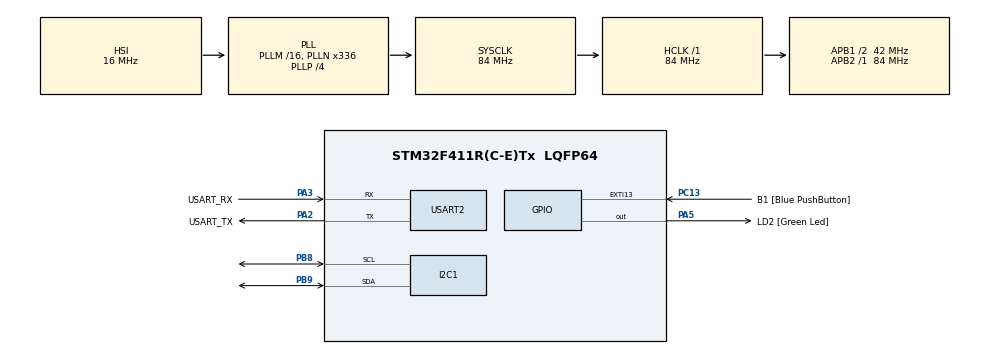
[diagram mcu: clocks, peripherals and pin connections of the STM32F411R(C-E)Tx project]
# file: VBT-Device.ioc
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Mcu.Family=STM32F4
Mcu.Name=STM32F411R(C-E)Tx
Mcu.Package=LQFP64
NVIC.PriorityGroup=NVIC_PRIORITYGROUP_0
PA13.GPIO_Label=TMS
PA13.Mode=Serial_Wire
PA13.Signal=SYS_JTMS-SWDIO
PA14.GPIO_Label=TCK
PA14.Mode=Serial_Wire
PA14.Signal=SYS_JTCK-SWCLK
PA2.GPIO_Label=USART_TX
PA2.Mode=Asynchronous
PA2.Signal=USART2_TX
PA3.GPIO_Label=USART_RX
PA3.Mode=Asynchronous
PA3.Signal=USART2_RX
PA5.GPIO_Label=LD2 [Green Led]
PA5.Signal=GPIO_Output
PB3.GPIO_Label=SWO
PB3.Signal=SYS_JTDO-SWO
PB8.Mode=I2C
PB8.Signal=I2C1_SCL
PB9.Mode=I2C
PB9.Signal=I2C1_SDA
PC13-ANTI_TAMP.GPIO_Label=B1 [Blue PushButton]
PC13-ANTI_TAMP.GPIO_ModeDefaultEXTI=GPIO_MODE_IT_FALLING
PC13-ANTI_TAMP.Signal=GPXTI13
PC14-OSC32_IN.Mode=LSE-External-Oscillator
PC14-OSC32_IN.Signal=RCC_OSC32_IN
PC15-OSC32_OUT.Mode=LSE-External-Oscillator
PC15-OSC32_OUT.Signal=RCC_OSC32_OUT
PH0\ -\ OSC_IN.Mode=HSE-External-Clock-Source
PH0\ -\ OSC_IN.Signal=RCC_OSC_IN
PH1\ -\ OSC_OUT.Mode=HSE-External-Clock-Source
PH1\ -\ OSC_OUT.Signal=RCC_OSC_OUT
ProjectManager.HeapSize=0x200
ProjectManager.StackSize=0x400
ProjectManager.TargetToolchain=STM32CubeIDE
RCC.48MHZClocksFreq_Value=84000000
RCC.AHBFreq_Value=84000000
RCC.APB1CLKDivider=RCC_HCLK_DIV2
RCC.APB1Freq_Value=42000000
RCC.APB1TimFreq_Value=84000000
RCC.APB2Freq_Value=84000000
RCC.APB2TimFreq_Value=84000000
RCC.CortexFreq_Value=84000000
RCC.FLatency-AdvancedSettings=FLASH_LATENCY_2
RCC.HCLKFreq_Value=84000000
RCC.HSE_VALUE=8000000
RCC.HSI_VALUE=16000000
RCC.PLLN=336
RCC.PLLP=RCC_PLLP_DIV4
RCC.SYSCLKFreq_VALUE=84000000
RCC.SYSCLKSource=RCC_SYSCLKSOURCE_PLLCLK
RCC.VCOOutputFreq_Value=336000000
TIM2.Period=0xFFFFFFFF
TIM2.Prescaler=83
USART2.VirtualMode=VM_ASYNC
VP_TIM2_VS_ClockSourceINT.Mode=Internal
board=NUCLEO-F411RE

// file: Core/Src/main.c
/* USER CODE BEGIN Header */
/**
  ******************************************************************************
  * @file           : main.c
  * @brief          : Main program body
  ******************************************************************************
  * @attention
  *
  * Copyright (c) 2026 STMicroelectronics.
  * All rights reserved.
  *
  * This software is licensed under terms that can be found in the LICENSE file
  * in the root directory of this software component.
  * If no LICENSE file comes with this software, it is provided AS-IS.
  *
  ******************************************************************************
  */
/* USER CODE END Header */
#include "main.h"
#include "i2c.h"
#include "tim.h"
#include "usart.h"
#include "gpio.h"

/* USER CODE BEGIN PV */
float Accel_X_OFF = 0, Accel_Y_OFF = 0, Accel_Z_OFF = 0; // will take avg of sensor reading while still to calibrate.
float velocity_x = 0;
float distance_x = 0;
float peak_velocity = 0;
uint32_t last_time = 0;

/* USER CODE END PV */

void SystemClock_Config(void);
/* USER CODE BEGIN PFP */
#include <stdio.h>

#ifdef __GNUC__
#define PUTCHAR_PROTOTYPE int __io_putchar(int ch)
#else
#define PUTCHAR_PROTOTYPE int fputc(int ch, FILE *f)
#endif
PUTCHAR_PROTOTYPE {
	while (__HAL_UART_GET_FLAG(&huart2, UART_FLAG_TC) == RESET);
	HAL_UART_Transmit(&huart2, (uint8_t *)&ch, 1, HAL_MAX_DELAY);
	return ch;
}
/* USER CODE END PFP */

int main(void)
{

  /* MCU Configuration--------------------------------------------------------*/

  /* Reset of all peripherals, Initializes the Flash interface and the Systick. */
  HAL_Init();

  /* Configure the system clock */
  SystemClock_Config();

  /* Initialize all configured peripherals */
  MX_GPIO_Init();
  MX_USART2_UART_Init();
  MX_I2C1_Init();
  MX_TIM2_Init();
  /* USER CODE BEGIN 2 */
  uint8_t check; // wake up sensor first!
  uint8_t Data;

  HAL_I2C_Mem_Read(&hi2c1, 0xD2, 0x75, 1, &check, 1, 1000); // checks device ID - 0x75 is address for MPU6050
  if (check == 0x68) { // 0x68 is default response for a healthy MPU6050
	  Data = 0;        // Register 0x6B is Power Management
	  HAL_I2C_Mem_Write(&hi2c1, 0xD2, 0x6B, 1, &Data, 1, 1000); // writing 0 wakes sensor up
  }

  printf("Calibrating... Keep the sensor flat!\r\n"); // calibrate sensor next!
  float tempX = 0, tempY = 0, tempZ = 0;

  uint8_t Cal_Data[6];
  int16_t raw_x, raw_y, raw_z;

  for(int i = 0; i < 100; i++) {
      // Read your RAW data here (same logic as your loop)
	  // FIXED: ADDED ACTUAL I2C READ AND BIT SHIFTING TO CALIBRATION LOOP TO POPULATE temp VARIABLES
	  if(HAL_I2C_Mem_Read(&hi2c1, 0xD2, 0x3B, 1, Cal_Data, 6, 1000) == HAL_OK) {
		  raw_x = (int16_t)(Cal_Data[0] << 8 | Cal_Data[1]);
		  raw_y = (int16_t)(Cal_Data[2] << 8 | Cal_Data[3]);
		  raw_z = (int16_t)(Cal_Data[4] << 8 | Cal_Data[5]);

		  // Add to tempX, tempY, tempZ
		  tempX += (raw_x / 16384.0);
		  tempY += (raw_y / 16384.0);
		  tempZ += (raw_z / 16384.0);
	  }
      HAL_Delay(10);
  }

  Accel_X_OFF = tempX / 100.0;
  Accel_Y_OFF = tempY / 100.0;
  Accel_Z_OFF = (tempZ / 100.0) - 1.0; // We subtract 1.0 because Z should see gravity
  printf("Calibration Done!\r\n");

  // FIXED: CHANGED hi2c1 TO htim2 TO ACTUALLY START THE TIMER
  HAL_TIM_Base_Start(&htim2); // start timer next!

  /* USER CODE END 2 */

  /* Infinite loop */
  /* USER CODE BEGIN WHILE */
  while (1)
  {
	  uint8_t Rec_Data[6];
	  int16_t Accel_X_RAW, Accel_Y_RAW, Accel_Z_RAW;
	  float ax, ay, az;

	  if(HAL_I2C_Mem_Read(&hi2c1, 0xD2, 0x3B, 1, Rec_Data, 6, 1000) == HAL_OK) // read 6 bytes starting from ACCEL_XOUT_H register (0x3B)
	  {
		  // COMBINE 2 8-bit registers into 1 16-bit signed int
		  Accel_X_RAW = (int16_t)(Rec_Data[0] << 8 | Rec_Data[1]);
		  Accel_Y_RAW = (int16_t)(Rec_Data[2] << 8 | Rec_Data[3]);
		  Accel_Z_RAW = (int16_t)(Rec_Data[4] << 8 | Rec_Data[5]);

	  	  // convert to 'g' force assuming default range of +/- 2g, sensitivaitvy factor for +/- 2g is 16384.0
	  	  ax = (Accel_X_RAW / 16384.0) - Accel_X_OFF;
	  	  ay = (Accel_Y_RAW / 16384.0) - Accel_Y_OFF;
	  	  az = (Accel_Z_RAW / 16384.0) - Accel_Z_OFF;
	  }

	  uint32_t current_time = __HAL_TIM_GET_COUNTER(&htim2);
	  float dt = (current_time - last_time) / 1000000.0f; // convert microseconds to seconds
	  last_time = current_time; //update

	  // FIXED: SLIGHTLY INCREASED DEADZONE TO 0.1 TO PREVENT DRIFT DURING DOUBLE INTEGRATION
	  if (ax > 0.1 || ax < -0.1) {
		  velocity_x += (ax * 9.81f) * dt;
		  // FIXED: INTEGRATED VELOCITY TO GET DISTANCE
		  distance_x += velocity_x * dt;

		  // FIXED: TRACK PEAK VELOCITY (ABSOLUTE VALUE TO ACCOUNT FOR BACKWARD MOVES)
		  float current_v_abs = (velocity_x < 0) ? -velocity_x : velocity_x;
		  if (current_v_abs > peak_velocity) peak_velocity = current_v_abs;

		  printf("V: %.2f | D: %.2f\r\n", velocity_x, distance_x);
	  }

	  else {
		  // FIXED: ADDED LOGIC TO PRINT SUMMARY AND RESET ONCE MOVEMENT STOPS
		  if (velocity_x != 0) {
			  printf("---- MOVE COMPLETE ----\r\n");
			  printf("Peak: %.2f m/s | Total Dist: %.2f m\r\n", peak_velocity, distance_x);
			  printf("-----------------------\r\n");

			  velocity_x = 0;
			  distance_x = 0;
			  peak_velocity = 0;
		  }
	  }

	  // HAL_GPIO_TogglePin(GPIOA, GPIO_PIN_5); i just used this to check that microcontroller works (this blinks green)
	  HAL_Delay(10); // 100hz refresh rate for now
    /* USER CODE END WHILE */

  }
}

void SystemClock_Config(void)
{
  RCC_OscInitTypeDef RCC_OscInitStruct = {0};
  RCC_ClkInitTypeDef RCC_ClkInitStruct = {0};

  /** Configure the main internal regulator output voltage
  */
  __HAL_RCC_PWR_CLK_ENABLE();
  __HAL_PWR_VOLTAGESCALING_CONFIG(PWR_REGULATOR_VOLTAGE_SCALE1);

  /** Initializes the RCC Oscillators according to the specified parameters
  * in the RCC_OscInitTypeDef structure.
  */
  RCC_OscInitStruct.OscillatorType = RCC_OSCILLATORTYPE_HSI;
  RCC_OscInitStruct.HSIState = RCC_HSI_ON;
  RCC_OscInitStruct.HSICalibrationValue = RCC_HSICALIBRATION_DEFAULT;
  RCC_OscInitStruct.PLL.PLLState = RCC_PLL_ON;
  RCC_OscInitStruct.PLL.PLLSource = RCC_PLLSOURCE_HSI;
  RCC_OscInitStruct.PLL.PLLM = 16;
  RCC_OscInitStruct.PLL.PLLN = 336;
  RCC_OscInitStruct.PLL.PLLP = RCC_PLLP_DIV4;
  RCC_OscInitStruct.PLL.PLLQ = 4;
  if (HAL_RCC_OscConfig(&RCC_OscInitStruct) != HAL_OK)
  {
    Error_Handler();
  }

  /** Initializes the CPU, AHB and APB buses clocks
  */
  RCC_ClkInitStruct.ClockType = RCC_CLOCKTYPE_HCLK|RCC_CLOCKTYPE_SYSCLK
                              |RCC_CLOCKTYPE_PCLK1|RCC_CLOCKTYPE_PCLK2;
  RCC_ClkInitStruct.SYSCLKSource = RCC_SYSCLKSOURCE_PLLCLK;
  RCC_ClkInitStruct.AHBCLKDivider = RCC_SYSCLK_DIV1;
  RCC_ClkInitStruct.APB1CLKDivider = RCC_HCLK_DIV2;
  RCC_ClkInitStruct.APB2CLKDivider = RCC_HCLK_DIV1;

  if (HAL_RCC_ClockConfig(&RCC_ClkInitStruct, FLASH_LATENCY_2) != HAL_OK)
  {
    Error_Handler();
  }
}

void Error_Handler(void)
{
  __disable_irq();
  while (1)
  {
  }
}
